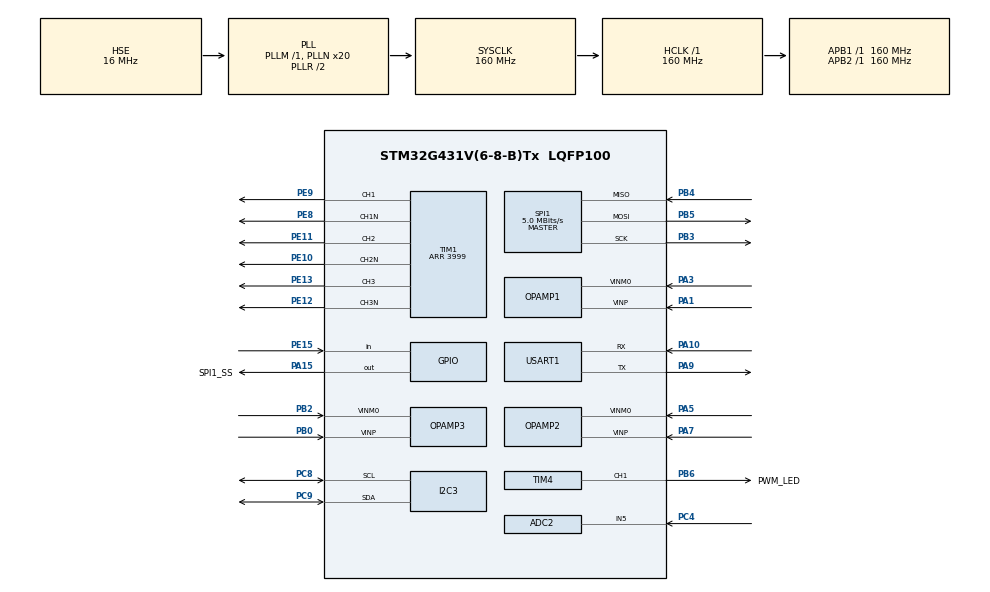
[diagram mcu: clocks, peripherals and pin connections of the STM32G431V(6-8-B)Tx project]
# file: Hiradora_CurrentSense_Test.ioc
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ADC1.Channel-6\#ChannelRegularConversion=ADC_CHANNEL_VREFINT
ADC1.EOCSelection=ADC_EOC_SEQ_CONV
ADC1.EnableInjectedConversion=ENABLE
ADC1.EnableInjectedOversampling=DISABLE
ADC1.EnableRegularConversion=ENABLE
ADC1.ExternalTrigInjecConv=ADC_EXTERNALTRIGINJEC_T1_CC4
ADC1.InjNumberOfConversion=2
ADC1.InjectedChannel-7\#ChannelInjectedConversion=ADC_CHANNEL_VOPAMP1
ADC1.InjectedChannel-8\#ChannelInjectedConversion=ADC_CHANNEL_VOPAMP1
ADC1.InjectedOffsetNumber-7\#ChannelInjectedConversion=ADC_OFFSET_NONE
ADC1.InjectedOffsetNumber-8\#ChannelInjectedConversion=ADC_OFFSET_NONE
ADC1.InjectedRank-7\#ChannelInjectedConversion=1
ADC1.InjectedRank-8\#ChannelInjectedConversion=2
ADC1.InjectedSamplingTime-7\#ChannelInjectedConversion=ADC_SAMPLETIME_12CYCLES_5
ADC1.InjectedSamplingTime-8\#ChannelInjectedConversion=ADC_SAMPLETIME_12CYCLES_5
ADC1.Mode=ADC_DUALMODE_INJECSIMULT
ADC1.NbrOfConversionFlag=1
ADC1.OffsetNumber-6\#ChannelRegularConversion=ADC_OFFSET_NONE
ADC1.Rank-6\#ChannelRegularConversion=1
ADC1.SamplingTime-6\#ChannelRegularConversion=ADC_SAMPLETIME_247CYCLES_5
ADC1.master=1
ADC2.Channel-5\#ChannelRegularConversion=ADC_CHANNEL_5
ADC2.EOCSelection=ADC_EOC_SEQ_CONV
ADC2.EnableInjectedConversion=ENABLE
ADC2.EnableRegularConversion=ENABLE
ADC2.InjNumberOfConversion=2
ADC2.InjectedChannel-3\#ChannelInjectedConversion=ADC_CHANNEL_VOPAMP2
ADC2.InjectedChannel-4\#ChannelInjectedConversion=ADC_CHANNEL_VOPAMP3_ADC2
ADC2.InjectedOffsetNumber-3\#ChannelInjectedConversion=ADC_OFFSET_NONE
ADC2.InjectedOffsetNumber-4\#ChannelInjectedConversion=ADC_OFFSET_NONE
ADC2.InjectedRank-3\#ChannelInjectedConversion=1
ADC2.InjectedRank-4\#ChannelInjectedConversion=2
ADC2.InjectedSamplingTime-3\#ChannelInjectedConversion=ADC_SAMPLETIME_12CYCLES_5
ADC2.InjectedSamplingTime-4\#ChannelInjectedConversion=ADC_SAMPLETIME_12CYCLES_5
ADC2.Mode=ADC_DUALMODE_INJECSIMULT
ADC2.NbrOfConversionFlag=1
ADC2.OffsetNumber-5\#ChannelRegularConversion=ADC_OFFSET_NONE
ADC2.Rank-5\#ChannelRegularConversion=1
ADC2.SamplingTime-5\#ChannelRegularConversion=ADC_SAMPLETIME_247CYCLES_5
Dma.Request0=USART1_TX
Dma.USART1_TX.0.Direction=DMA_MEMORY_TO_PERIPH
Dma.USART1_TX.0.EventEnable=DISABLE
Dma.USART1_TX.0.Instance=DMA1_Channel1
Dma.USART1_TX.0.MemDataAlignment=DMA_MDATAALIGN_BYTE
Dma.USART1_TX.0.MemInc=DMA_MINC_ENABLE
Dma.USART1_TX.0.Mode=DMA_NORMAL
Dma.USART1_TX.0.PeriphDataAlignment=DMA_PDATAALIGN_BYTE
Dma.USART1_TX.0.PeriphInc=DMA_PINC_DISABLE
Dma.USART1_TX.0.Polarity=HAL_DMAMUX_REQ_GEN_RISING
Dma.USART1_TX.0.Priority=DMA_PRIORITY_LOW
Dma.USART1_TX.0.RequestNumber=1
Dma.USART1_TX.0.SignalID=NONE
Dma.USART1_TX.0.SyncEnable=DISABLE
Dma.USART1_TX.0.SyncPolarity=HAL_DMAMUX_SYNC_NO_EVENT
Dma.USART1_TX.0.SyncRequestNumber=1
Dma.USART1_TX.0.SyncSignalID=NONE
I2C3.Timing=0x30D29DE4
Mcu.Family=STM32G4
Mcu.Name=STM32G431V(6-8-B)Tx
Mcu.Package=LQFP100
NVIC.ADC1_2_IRQn=true\:0\:0\:false\:false\:true\:true\:true\:true
NVIC.DMA1_Channel1_IRQn=true\:0\:0\:true\:false\:true\:false\:true\:true
NVIC.PriorityGroup=NVIC_PRIORITYGROUP_4
NVIC.TIM1_UP_TIM16_IRQn=true\:0\:0\:true\:false\:true\:true\:true\:true
NVIC.USART1_IRQn=true\:0\:0\:true\:false\:true\:true\:true\:true
OPAMP1.PgaGain=OPAMP_PGA_GAIN_16_OR_MINUS_15
OPAMP1.PowerMode=OPAMP_POWERMODE_HIGHSPEED
OPAMP2.PgaGain=OPAMP_PGA_GAIN_16_OR_MINUS_15
OPAMP2.PowerMode=OPAMP_POWERMODE_HIGHSPEED
OPAMP3.PgaGain=OPAMP_PGA_GAIN_16_OR_MINUS_15
OPAMP3.PowerMode=OPAMP_POWERMODE_HIGHSPEED
PA1.Mode=PGA Internally connected_IO0_BIAS
PA1.Signal=OPAMP1_VINP
PA10.Mode=Asynchronous
PA10.Signal=USART1_RX
PA15.GPIO_Label=SPI1_SS
PA15.PinState=GPIO_PIN_SET
PA15.Signal=GPIO_Output
PA3.Mode=PGA Internally connected_IO0_BIAS
PA3.Signal=OPAMP1_VINM0
PA5.Mode=PGA Internally connected_IO0_BIAS
PA5.Signal=OPAMP2_VINM0
PA7.Mode=PGA Internally connected_IO0_BIAS
PA7.Signal=OPAMP2_VINP
PA9.Mode=Asynchronous
PA9.Signal=USART1_TX
PB0.Mode=PGA Internally connected_IO0_BIAS
PB0.Signal=OPAMP3_VINP
PB2.Mode=PGA Internally connected_IO0_BIAS
PB2.Signal=OPAMP3_VINM0
PB3.Mode=Full_Duplex_Master
PB3.Signal=SPI1_SCK
PB4.Mode=Full_Duplex_Master
PB4.Signal=SPI1_MISO
PB5.Mode=Full_Duplex_Master
PB5.Signal=SPI1_MOSI
PB6.GPIO_Label=PWM_LED
PB6.Signal=S_TIM4_CH1
PC4.Mode=IN5-Single-Ended
PC4.Signal=ADC2_IN5
PC8.Mode=I2C
PC8.Signal=I2C3_SCL
PC9.Mode=I2C
PC9.Signal=I2C3_SDA
PE10.Mode=PWM Generation2 CH2 CH2N
PE10.Signal=TIM1_CH2N
PE11.Signal=S_TIM1_CH2
PE12.Mode=PWM Generation3 CH3 CH3N
PE12.Signal=TIM1_CH3N
PE13.Signal=S_TIM1_CH3
PE15.GPIO_PuPd=GPIO_PULLUP
PE15.Signal=GPIO_Input
PE8.Mode=PWM Generation1 CH1 CH1N
PE8.Signal=TIM1_CH1N
PE9.Signal=S_TIM1_CH1
PF0-OSC_IN.Mode=HSE-External-Oscillator
PF0-OSC_IN.Signal=RCC_OSC_IN
PF1-OSC_OUT.Mode=HSE-External-Oscillator
PF1-OSC_OUT.Signal=RCC_OSC_OUT
ProjectManager.HeapSize=0x200
ProjectManager.StackSize=0x400
ProjectManager.TargetToolchain=CMake
RCC.ADC12Freq_Value=160000000
RCC.AHBFreq_Value=160000000
RCC.APB1Freq_Value=160000000
RCC.APB1TimFreq_Value=160000000
RCC.APB2Freq_Value=160000000
RCC.APB2TimFreq_Value=160000000
RCC.CortexFreq_Value=160000000
RCC.EXTERNAL_CLOCK_VALUE=12288000
RCC.HCLKFreq_Value=160000000
RCC.HSE_VALUE=16000000
RCC.HSI48_VALUE=48000000
RCC.HSI_VALUE=16000000
RCC.LSE_VALUE=32768
RCC.PLLN=20
RCC.PLLSourceVirtual=RCC_PLLSOURCE_HSE
RCC.SYSCLKFreq_VALUE=160000000
RCC.SYSCLKSource=RCC_SYSCLKSOURCE_PLLCLK
RCC.USBFreq_Value=160000000
RCC.VCOOutputFreq_Value=320000000
SH.S_TIM1_CH1.0=TIM1_CH1,PWM Generation1 CH1 CH1N
SH.S_TIM1_CH2.0=TIM1_CH2,PWM Generation2 CH2 CH2N
SH.S_TIM1_CH3.0=TIM1_CH3,PWM Generation3 CH3 CH3N
SH.S_TIM4_CH1.0=TIM4_CH1,PWM Generation1 CH1
SPI1.BaudRatePrescaler=SPI_BAUDRATEPRESCALER_32
SPI1.CLKPhase=SPI_PHASE_2EDGE
SPI1.CalculateBaudRate=5.0 MBits/s
SPI1.DataSize=SPI_DATASIZE_16BIT
SPI1.Direction=SPI_DIRECTION_2LINES
SPI1.Mode=SPI_MODE_MASTER
SPI1.VirtualType=VM_MASTER
TIM1.AutoReloadPreload=TIM_AUTORELOAD_PRELOAD_ENABLE
TIM1.Channel-PWM\ Generation1\ CH1\ CH1N=TIM_CHANNEL_1
TIM1.Channel-PWM\ Generation2\ CH2\ CH2N=TIM_CHANNEL_2
TIM1.Channel-PWM\ Generation3\ CH3\ CH3N=TIM_CHANNEL_3
TIM1.Channel-PWM\ Generation4\ No\ Output=TIM_CHANNEL_4
TIM1.CounterMode=TIM_COUNTERMODE_CENTERALIGNED1
TIM1.DeadTime=60
TIM1.PeriodNoDither=3999
TIM1.PulseNoDither_4=3998
TIM1.RepetitionCounter=0
TIM1.TIM_MasterOutputTrigger=TIM_TRGO_RESET
TIM4.Channel-PWM\ Generation1\ CH1=TIM_CHANNEL_1
TIM4.PeriodNoDither=999
TIM4.Prescaler=159
USART1.VirtualMode-Asynchronous=VM_ASYNC
VP_ADC1_OPAMP_INTERNAL1.Mode=IN-OPAMP1
VP_ADC1_Vref_Input.Mode=IN-Vrefint
VP_ADC2_OPAMP_INTERNAL2.Mode=IN-OPAMP2
VP_ADC2_OPAMP_INTERNAL3.Mode=IN-OPAMP3
VP_SYS_VS_DBSignals.Mode=DisableDeadBatterySignals
VP_TIM1_VS_ClockSourceINT.Mode=Internal
VP_TIM1_VS_no_output4.Mode=PWM Generation4 No Output
VP_TIM4_VS_ClockSourceINT.Mode=Internal
board=custom

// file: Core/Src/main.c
/* USER CODE BEGIN Header */
/**
  ******************************************************************************
  * @file           : main.c
  * @brief          : Main program body
  ******************************************************************************
  * @attention
  *
  * Copyright (c) 2026 STMicroelectronics.
  * All rights reserved.
  *
  * This software is licensed under terms that can be found in the LICENSE file
  * in the root directory of this software component.
  * If no LICENSE file comes with this software, it is provided AS-IS.
  *
  ******************************************************************************
  */
/* USER CODE END Header */
#include "main.h"

/* USER CODE BEGIN Includes */
#include "as5047p.h"
#include "console.h"
#include "current_sense.h"
#include "motor_control.h"
#include "ntc.h"
#include "stspin32g4.h"
#include <ctype.h>
#include <stdio.h>

/* USER CODE END Includes */

ADC_HandleTypeDef hadc1;
ADC_HandleTypeDef hadc2;

I2C_HandleTypeDef hi2c3;

OPAMP_HandleTypeDef hopamp1;
OPAMP_HandleTypeDef hopamp2;
OPAMP_HandleTypeDef hopamp3;

SPI_HandleTypeDef hspi1;

TIM_HandleTypeDef htim1;
TIM_HandleTypeDef htim4;

UART_HandleTypeDef huart1;
DMA_HandleTypeDef hdma_usart1_tx;

/* USER CODE BEGIN PV */
static char motor_command[CONSOLE_RX_LINE_SIZE];

/* USER CODE END PV */

void SystemClock_Config(void);
static void MX_GPIO_Init(void);
static void MX_DMA_Init(void);
static void MX_TIM1_Init(void);
static void MX_USART1_UART_Init(void);
static void MX_TIM4_Init(void);
static void MX_I2C3_Init(void);
static void MX_OPAMP1_Init(void);
static void MX_OPAMP2_Init(void);
static void MX_ADC1_Init(void);
static void MX_ADC2_Init(void);
static void MX_OPAMP3_Init(void);
static void MX_SPI1_Init(void);

/* USER CODE BEGIN 0 */
static void PrintGateDriverStatus(const char *label, uint8_t status)
{
  printf("STSPIN32G4 STATUS %s: 0x%02X "
         "[LOCK=%u RESET=%u VDS=%u THSD=%u VCC_UVLO=%u]\r\n",
         label,
         status,
         (status & STSPIN32G4_STATUS_LOCK) != 0U,
         (status & STSPIN32G4_STATUS_RESET) != 0U,
         (status & STSPIN32G4_STATUS_VDS_PROTECTION) != 0U,
         (status & STSPIN32G4_STATUS_THERMAL_SHUTDOWN) != 0U,
         (status & STSPIN32G4_STATUS_VCC_UVLO) != 0U);
}

static bool IsGateDriverCommand(const char *command, const char *expected)
{
  while (isspace((unsigned char)*command) != 0)
  {
    command++;
  }
  while (*expected != '\0')
  {
    if (tolower((unsigned char)*command) != *expected)
    {
      return false;
    }
    command++;
    expected++;
  }
  while (isspace((unsigned char)*command) != 0)
  {
    command++;
  }
  return (*command == '\0');
}

static bool ReadAndPrintGateDriverFault(const char *label)
{
  uint8_t status;
  HAL_StatusTypeDef result;
  GPIO_PinState nfault;
  /* Read only: preserve latched faults for diagnosis. Sample PE15 even
     when I2C fails; the register and pin are sequential snapshots. */
  result = STSPIN32G4_ReadStatus(&hi2c3, &status);
  nfault = HAL_GPIO_ReadPin(GPIOE, GPIO_PIN_15);
  if (result == HAL_OK)
  {
    PrintGateDriverStatus(label, status);
  }
  else
  {
    printf("STSPIN32G4 STATUS read failed: HAL status=%d, HAL error=0x%08lX\r\n",
           (int)result,
           (unsigned long)HAL_I2C_GetError(&hi2c3));
  }
  printf("STSPIN32G4 nFAULT (PE15): %u (%s)\r\n",
         (unsigned int)(nfault == GPIO_PIN_SET),
         (nfault == GPIO_PIN_RESET) ? "LOW, asserted" : "HIGH, inactive");
  return (result == HAL_OK);
}

static bool ProcessGateDriverFaultCommand(const char *command)
{
  HAL_StatusTypeDef result;

  if (IsGateDriverCommand(command, "fault"))
  {
    (void)ReadAndPrintGateDriverFault("current");
    return true;
  }
  if (!IsGateDriverCommand(command, "fault clear"))
  {
    return false;
  }

  /* Clearing the driver latch can re-enable its outputs. Stop PWM first. */
  MotorControl_Stop();
  printf("PWM stopped for fault clear\r\n");
  if (!ReadAndPrintGateDriverFault("before clear"))
  {
    printf("FAULT clear aborted: STATUS is unavailable\r\n");
    return true;
  }

  result = STSPIN32G4_ClearFaults(&hi2c3);
  if (result != HAL_OK)
  {
    printf("STSPIN32G4 CLEAR failed: HAL status=%d, HAL error=0x%08lX\r\n",
           (int)result,
           (unsigned long)HAL_I2C_GetError(&hi2c3));
  }
  else
  {
    printf("STSPIN32G4 CLEAR command sent\r\n");
  }
  /* Same settling time as the startup fault-clear sequence. */
  HAL_Delay(1U);
  (void)ReadAndPrintGateDriverFault("after clear");
  return true;
}

/* USER CODE END 0 */

int main(void)
{

  /* MCU Configuration--------------------------------------------------------*/

  /* Reset of all peripherals, Initializes the Flash interface and the Systick. */
  HAL_Init();

  /* Configure the system clock */
  SystemClock_Config();

  /* Initialize all configured peripherals */
  MX_GPIO_Init();
  MX_DMA_Init();
  MX_TIM1_Init();
  MX_USART1_UART_Init();
  MX_TIM4_Init();
  MX_I2C3_Init();
  MX_OPAMP1_Init();
  MX_OPAMP2_Init();
  MX_ADC1_Init();
  MX_ADC2_Init();
  MX_OPAMP3_Init();
  MX_SPI1_Init();
  /* USER CODE BEGIN 2 */
  Console_Init(&huart1);

  if (CurrentSense_Init(&hadc1,
                        &hadc2,
                        &hopamp1,
                        &hopamp2,
                        &hopamp3,
                        &htim1) != HAL_OK)
  {
    printf("Current-sense initialization failed\r\n");
    (void)Console_Flush(1000U);
    Error_Handler();
  }

  NTC_Init(&hadc2);

  /* The internal VCC buck soft-start is 3.3 ms according to the datasheet. */
  HAL_Delay(5U);
  if (MotorControl_Init(&htim1, &hi2c3) != HAL_OK)
  {
    printf("Motor PWM remains disabled\r\n");
  }
  else
  {
    printf("TIM1 ready: PWM OFF, current_test duty=0\r\n");
  }
  AS5047P_Init(&hspi1);
  printf("Command: <offset>, u/v/w <offset>, mid, stop, start, "
         "run cw/ccw <rpm>, current_test off|uv_pos|uv_neg|vw_pos|vw_neg|wu_pos|wu_neg|duty <0..0.05>, "
         "status, adc, ntc, ntc stop, angle, angle stop, fault, fault clear\r\n");
  /* USER CODE END 2 */

  /* Infinite loop */
  while (1)
  {

    /* USER CODE BEGIN 3 */
    CurrentSense_Task();
    NTC_Task();
    AS5047P_Task();

    if (Console_ReadLine(motor_command, sizeof(motor_command)))
    {
      if (CurrentSense_IsBusy())
      {
        if (!MotorControl_ProcessStopCommand(motor_command))
        {
          printf("ADC capture/transfer is busy; only 'stop' or 'current_test off' is accepted\r\n");
        }
      }
      else if (!ProcessGateDriverFaultCommand(motor_command) &&
               !AS5047P_ProcessCommand(motor_command) &&
               !NTC_ProcessCommand(motor_command) &&
               !CurrentSense_ProcessCommand(motor_command))
      {
        (void)MotorControl_ProcessCommand(motor_command);
      }
    }
    HAL_Delay(1);
  }
  /* USER CODE END 3 */
}

void SystemClock_Config(void)
{
  RCC_OscInitTypeDef RCC_OscInitStruct = {0};
  RCC_ClkInitTypeDef RCC_ClkInitStruct = {0};

  /** Configure the main internal regulator output voltage
  */
  HAL_PWREx_ControlVoltageScaling(PWR_REGULATOR_VOLTAGE_SCALE1_BOOST);

  /** Initializes the RCC Oscillators according to the specified parameters
  * in the RCC_OscInitTypeDef structure.
  */
  RCC_OscInitStruct.OscillatorType = RCC_OSCILLATORTYPE_HSE;
  RCC_OscInitStruct.HSEState = RCC_HSE_ON;
  RCC_OscInitStruct.PLL.PLLState = RCC_PLL_ON;
  RCC_OscInitStruct.PLL.PLLSource = RCC_PLLSOURCE_HSE;
  RCC_OscInitStruct.PLL.PLLM = RCC_PLLM_DIV1;
  RCC_OscInitStruct.PLL.PLLN = 20;
  RCC_OscInitStruct.PLL.PLLP = RCC_PLLP_DIV2;
  RCC_OscInitStruct.PLL.PLLQ = RCC_PLLQ_DIV2;
  RCC_OscInitStruct.PLL.PLLR = RCC_PLLR_DIV2;
  if (HAL_RCC_OscConfig(&RCC_OscInitStruct) != HAL_OK)
  {
    Error_Handler();
  }

  /** Initializes the CPU, AHB and APB buses clocks
  */
  RCC_ClkInitStruct.ClockType = RCC_CLOCKTYPE_HCLK|RCC_CLOCKTYPE_SYSCLK
                              |RCC_CLOCKTYPE_PCLK1|RCC_CLOCKTYPE_PCLK2;
  RCC_ClkInitStruct.SYSCLKSource = RCC_SYSCLKSOURCE_PLLCLK;
  RCC_ClkInitStruct.AHBCLKDivider = RCC_SYSCLK_DIV1;
  RCC_ClkInitStruct.APB1CLKDivider = RCC_HCLK_DIV1;
  RCC_ClkInitStruct.APB2CLKDivider = RCC_HCLK_DIV1;

  if (HAL_RCC_ClockConfig(&RCC_ClkInitStruct, FLASH_LATENCY_4) != HAL_OK)
  {
    Error_Handler();
  }
}

static void MX_ADC1_Init(void)
{

  ADC_MultiModeTypeDef multimode = {0};
  ADC_ChannelConfTypeDef sConfig = {0};
  ADC_InjectionConfTypeDef sConfigInjected = {0};

  /** Common config
  */
  hadc1.Instance = ADC1;
  hadc1.Init.ClockPrescaler = ADC_CLOCK_SYNC_PCLK_DIV4;
  hadc1.Init.Resolution = ADC_RESOLUTION_12B;
  hadc1.Init.DataAlign = ADC_DATAALIGN_RIGHT;
  hadc1.Init.GainCompensation = 0;
  hadc1.Init.ScanConvMode = ADC_SCAN_ENABLE;
  hadc1.Init.EOCSelection = ADC_EOC_SEQ_CONV;
  hadc1.Init.LowPowerAutoWait = DISABLE;
  hadc1.Init.ContinuousConvMode = DISABLE;
  hadc1.Init.NbrOfConversion = 1;
  hadc1.Init.DiscontinuousConvMode = DISABLE;
  hadc1.Init.ExternalTrigConv = ADC_SOFTWARE_START;
  hadc1.Init.ExternalTrigConvEdge = ADC_EXTERNALTRIGCONVEDGE_NONE;
  hadc1.Init.DMAContinuousRequests = DISABLE;
  hadc1.Init.Overrun = ADC_OVR_DATA_PRESERVED;
  hadc1.Init.OversamplingMode = DISABLE;
  if (HAL_ADC_Init(&hadc1) != HAL_OK)
  {
    Error_Handler();
  }

  /** Configure the ADC multi-mode
  */
  multimode.Mode = ADC_DUALMODE_INJECSIMULT;
  multimode.DMAAccessMode = ADC_DMAACCESSMODE_DISABLED;
  multimode.TwoSamplingDelay = ADC_TWOSAMPLINGDELAY_1CYCLE;
  if (HAL_ADCEx_MultiModeConfigChannel(&hadc1, &multimode) != HAL_OK)
  {
    Error_Handler();
  }

  /** Configure Regular Channel
  */
  sConfig.Channel = ADC_CHANNEL_VREFINT;
  sConfig.Rank = ADC_REGULAR_RANK_1;
  sConfig.SamplingTime = ADC_SAMPLETIME_247CYCLES_5;
  sConfig.SingleDiff = ADC_SINGLE_ENDED;
  sConfig.OffsetNumber = ADC_OFFSET_NONE;
  sConfig.Offset = 0;
  if (HAL_ADC_ConfigChannel(&hadc1, &sConfig) != HAL_OK)
  {
    Error_Handler();
  }

  /** Configure Injected Channel
  */
  sConfigInjected.InjectedChannel = ADC_CHANNEL_VOPAMP1;
  sConfigInjected.InjectedRank = ADC_INJECTED_RANK_1;
  sConfigInjected.InjectedSamplingTime = ADC_SAMPLETIME_12CYCLES_5;
  sConfigInjected.InjectedSingleDiff = ADC_SINGLE_ENDED;
  sConfigInjected.InjectedOffsetNumber = ADC_OFFSET_NONE;
  sConfigInjected.InjectedOffset = 0;
  sConfigInjected.InjectedNbrOfConversion = 2;
  sConfigInjected.InjectedDiscontinuousConvMode = DISABLE;
  sConfigInjected.AutoInjectedConv = DISABLE;
  sConfigInjected.QueueInjectedContext = DISABLE;
  sConfigInjected.ExternalTrigInjecConv = ADC_EXTERNALTRIGINJEC_T1_CC4;
  sConfigInjected.ExternalTrigInjecConvEdge = ADC_EXTERNALTRIGINJECCONV_EDGE_RISING;
  sConfigInjected.InjecOversamplingMode = DISABLE;
  if (HAL_ADCEx_InjectedConfigChannel(&hadc1, &sConfigInjected) != HAL_OK)
  {
    Error_Handler();
  }

  /** Configure Injected Channel
  */
  sConfigInjected.InjectedRank = ADC_INJECTED_RANK_2;
  if (HAL_ADCEx_InjectedConfigChannel(&hadc1, &sConfigInjected) != HAL_OK)
  {
    Error_Handler();
  }

}

static void MX_ADC2_Init(void)
{

  ADC_InjectionConfTypeDef sConfigInjected = {0};
  ADC_ChannelConfTypeDef sConfig = {0};

  /** Common config
  */
  hadc2.Instance = ADC2;
  hadc2.Init.ClockPrescaler = ADC_CLOCK_SYNC_PCLK_DIV4;
  hadc2.Init.Resolution = ADC_RESOLUTION_12B;
  hadc2.Init.DataAlign = ADC_DATAALIGN_RIGHT;
  hadc2.Init.GainCompensation = 0;
  hadc2.Init.ScanConvMode = ADC_SCAN_ENABLE;
  hadc2.Init.EOCSelection = ADC_EOC_SEQ_CONV;
  hadc2.Init.LowPowerAutoWait = DISABLE;
  hadc2.Init.ContinuousConvMode = DISABLE;
  hadc2.Init.NbrOfConversion = 1;
  hadc2.Init.DiscontinuousConvMode = DISABLE;
  hadc2.Init.DMAContinuousRequests = DISABLE;
  hadc2.Init.Overrun = ADC_OVR_DATA_PRESERVED;
  hadc2.Init.OversamplingMode = DISABLE;
  if (HAL_ADC_Init(&hadc2) != HAL_OK)
  {
    Error_Handler();
  }

  /** Configure Injected Channel
  */
  sConfigInjected.InjectedChannel = ADC_CHANNEL_VOPAMP2;
  sConfigInjected.InjectedRank = ADC_INJECTED_RANK_1;
  sConfigInjected.InjectedSamplingTime = ADC_SAMPLETIME_12CYCLES_5;
  sConfigInjected.InjectedSingleDiff = ADC_SINGLE_ENDED;
  sConfigInjected.InjectedOffsetNumber = ADC_OFFSET_NONE;
  sConfigInjected.InjectedOffset = 0;
  sConfigInjected.InjectedNbrOfConversion = 2;
  sConfigInjected.InjectedDiscontinuousConvMode = DISABLE;
  sConfigInjected.AutoInjectedConv = DISABLE;
  sConfigInjected.QueueInjectedContext = DISABLE;
  sConfigInjected.InjecOversamplingMode = DISABLE;
  if (HAL_ADCEx_InjectedConfigChannel(&hadc2, &sConfigInjected) != HAL_OK)
  {
    Error_Handler();
  }

  /** Configure Injected Channel
  */
  sConfigInjected.InjectedChannel = ADC_CHANNEL_VOPAMP3_ADC2;
  sConfigInjected.InjectedRank = ADC_INJECTED_RANK_2;
  if (HAL_ADCEx_InjectedConfigChannel(&hadc2, &sConfigInjected) != HAL_OK)
  {
    Error_Handler();
  }

  /** Configure Regular Channel
  */
  sConfig.Channel = ADC_CHANNEL_5;
  sConfig.Rank = ADC_REGULAR_RANK_1;
  sConfig.SamplingTime = ADC_SAMPLETIME_247CYCLES_5;
  sConfig.SingleDiff = ADC_SINGLE_ENDED;
  sConfig.OffsetNumber = ADC_OFFSET_NONE;
  sConfig.Offset = 0;
  if (HAL_ADC_ConfigChannel(&hadc2, &sConfig) != HAL_OK)
  {
    Error_Handler();
  }

}

static void MX_I2C3_Init(void)
{

  hi2c3.Instance = I2C3;
  hi2c3.Init.Timing = 0x30D29DE4;
  hi2c3.Init.OwnAddress1 = 0;
  hi2c3.Init.AddressingMode = I2C_ADDRESSINGMODE_7BIT;
  hi2c3.Init.DualAddressMode = I2C_DUALADDRESS_DISABLE;
  hi2c3.Init.OwnAddress2 = 0;
  hi2c3.Init.OwnAddress2Masks = I2C_OA2_NOMASK;
  hi2c3.Init.GeneralCallMode = I2C_GENERALCALL_DISABLE;
  hi2c3.Init.NoStretchMode = I2C_NOSTRETCH_DISABLE;
  if (HAL_I2C_Init(&hi2c3) != HAL_OK)
  {
    Error_Handler();
  }

  /** Configure Analogue filter
  */
  if (HAL_I2CEx_ConfigAnalogFilter(&hi2c3, I2C_ANALOGFILTER_ENABLE) != HAL_OK)
  {
    Error_Handler();
  }

  /** Configure Digital filter
  */
  if (HAL_I2CEx_ConfigDigitalFilter(&hi2c3, 0) != HAL_OK)
  {
    Error_Handler();
  }

}

static void MX_OPAMP1_Init(void)
{

  hopamp1.Instance = OPAMP1;
  hopamp1.Init.PowerMode = OPAMP_POWERMODE_HIGHSPEED;
  hopamp1.Init.Mode = OPAMP_PGA_MODE;
  hopamp1.Init.NonInvertingInput = OPAMP_NONINVERTINGINPUT_IO0;
  hopamp1.Init.InternalOutput = ENABLE;
  hopamp1.Init.TimerControlledMuxmode = OPAMP_TIMERCONTROLLEDMUXMODE_DISABLE;
  hopamp1.Init.PgaConnect = OPAMP_PGA_CONNECT_INVERTINGINPUT_IO0_BIAS;
  hopamp1.Init.PgaGain = OPAMP_PGA_GAIN_16_OR_MINUS_15;
  hopamp1.Init.UserTrimming = OPAMP_TRIMMING_FACTORY;
  if (HAL_OPAMP_Init(&hopamp1) != HAL_OK)
  {
    Error_Handler();
  }

}

static void MX_OPAMP2_Init(void)
{

  hopamp2.Instance = OPAMP2;
  hopamp2.Init.PowerMode = OPAMP_POWERMODE_HIGHSPEED;
  hopamp2.Init.Mode = OPAMP_PGA_MODE;
  hopamp2.Init.NonInvertingInput = OPAMP_NONINVERTINGINPUT_IO0;
  hopamp2.Init.InternalOutput = ENABLE;
  hopamp2.Init.TimerControlledMuxmode = OPAMP_TIMERCONTROLLEDMUXMODE_DISABLE;
  hopamp2.Init.PgaConnect = OPAMP_PGA_CONNECT_INVERTINGINPUT_IO0_BIAS;
  hopamp2.Init.PgaGain = OPAMP_PGA_GAIN_16_OR_MINUS_15;
  hopamp2.Init.UserTrimming = OPAMP_TRIMMING_FACTORY;
  if (HAL_OPAMP_Init(&hopamp2) != HAL_OK)
  {
    Error_Handler();
  }

}

static void MX_OPAMP3_Init(void)
{

  hopamp3.Instance = OPAMP3;
  hopamp3.Init.PowerMode = OPAMP_POWERMODE_HIGHSPEED;
  hopamp3.Init.Mode = OPAMP_PGA_MODE;
  hopamp3.Init.NonInvertingInput = OPAMP_NONINVERTINGINPUT_IO0;
  hopamp3.Init.InternalOutput = ENABLE;
  hopamp3.Init.TimerControlledMuxmode = OPAMP_TIMERCONTROLLEDMUXMODE_DISABLE;
  hopamp3.Init.PgaConnect = OPAMP_PGA_CONNECT_INVERTINGINPUT_IO0_BIAS;
  hopamp3.Init.PgaGain = OPAMP_PGA_GAIN_16_OR_MINUS_15;
  hopamp3.Init.UserTrimming = OPAMP_TRIMMING_FACTORY;
  if (HAL_OPAMP_Init(&hopamp3) != HAL_OK)
  {
    Error_Handler();
  }

}

static void MX_SPI1_Init(void)
{

  /* SPI1 parameter configuration*/
  hspi1.Instance = SPI1;
  hspi1.Init.Mode = SPI_MODE_MASTER;
  hspi1.Init.Direction = SPI_DIRECTION_2LINES;
  hspi1.Init.DataSize = SPI_DATASIZE_16BIT;
  hspi1.Init.CLKPolarity = SPI_POLARITY_LOW;
  hspi1.Init.CLKPhase = SPI_PHASE_2EDGE;
  hspi1.Init.NSS = SPI_NSS_SOFT;
  hspi1.Init.BaudRatePrescaler = SPI_BAUDRATEPRESCALER_32;
  hspi1.Init.FirstBit = SPI_FIRSTBIT_MSB;
  hspi1.Init.TIMode = SPI_TIMODE_DISABLE;
  hspi1.Init.CRCCalculation = SPI_CRCCALCULATION_DISABLE;
  hspi1.Init.CRCPolynomial = 7;
  hspi1.Init.CRCLength = SPI_CRC_LENGTH_DATASIZE;
  hspi1.Init.NSSPMode = SPI_NSS_PULSE_DISABLE;
  if (HAL_SPI_Init(&hspi1) != HAL_OK)
  {
    Error_Handler();
  }

}

static void MX_TIM1_Init(void)
{

  TIM_ClockConfigTypeDef sClockSourceConfig = {0};
  TIM_MasterConfigTypeDef sMasterConfig = {0};
  TIM_OC_InitTypeDef sConfigOC = {0};
  TIM_BreakDeadTimeConfigTypeDef sBreakDeadTimeConfig = {0};

  htim1.Instance = TIM1;
  htim1.Init.Prescaler = 0;
  htim1.Init.CounterMode = TIM_COUNTERMODE_CENTERALIGNED1;
  htim1.Init.Period = 3999;
  htim1.Init.ClockDivision = TIM_CLOCKDIVISION_DIV1;
  htim1.Init.RepetitionCounter = 0;
  htim1.Init.AutoReloadPreload = TIM_AUTORELOAD_PRELOAD_ENABLE;
  if (HAL_TIM_Base_Init(&htim1) != HAL_OK)
  {
    Error_Handler();
  }
  sClockSourceConfig.ClockSource = TIM_CLOCKSOURCE_INTERNAL;
  if (HAL_TIM_ConfigClockSource(&htim1, &sClockSourceConfig) != HAL_OK)
  {
    Error_Handler();
  }
  if (HAL_TIM_PWM_Init(&htim1) != HAL_OK)
  {
    Error_Handler();
  }
  sMasterConfig.MasterOutputTrigger = TIM_TRGO_RESET;
  sMasterConfig.MasterOutputTrigger2 = TIM_TRGO2_RESET;
  sMasterConfig.MasterSlaveMode = TIM_MASTERSLAVEMODE_DISABLE;
  if (HAL_TIMEx_MasterConfigSynchronization(&htim1, &sMasterConfig) != HAL_OK)
  {
    Error_Handler();
  }
  sConfigOC.OCMode = TIM_OCMODE_PWM1;
  sConfigOC.Pulse = 0;
  sConfigOC.OCPolarity = TIM_OCPOLARITY_HIGH;
  sConfigOC.OCNPolarity = TIM_OCNPOLARITY_HIGH;
  sConfigOC.OCFastMode = TIM_OCFAST_DISABLE;
  sConfigOC.OCIdleState = TIM_OCIDLESTATE_RESET;
  sConfigOC.OCNIdleState = TIM_OCNIDLESTATE_RESET;
  if (HAL_TIM_PWM_ConfigChannel(&htim1, &sConfigOC, TIM_CHANNEL_1) != HAL_OK)
  {
    Error_Handler();
  }
  if (HAL_TIM_PWM_ConfigChannel(&htim1, &sConfigOC, TIM_CHANNEL_2) != HAL_OK)
  {
    Error_Handler();
  }
  if (HAL_TIM_PWM_ConfigChannel(&htim1, &sConfigOC, TIM_CHANNEL_3) != HAL_OK)
  {
    Error_Handler();
  }
  sConfigOC.Pulse = 3998;
  if (HAL_TIM_PWM_ConfigChannel(&htim1, &sConfigOC, TIM_CHANNEL_4) != HAL_OK)
  {
    Error_Handler();
  }
  sBreakDeadTimeConfig.OffStateRunMode = TIM_OSSR_DISABLE;
  sBreakDeadTimeConfig.OffStateIDLEMode = TIM_OSSI_DISABLE;
  sBreakDeadTimeConfig.LockLevel = TIM_LOCKLEVEL_OFF;
  sBreakDeadTimeConfig.DeadTime = 60;
  sBreakDeadTimeConfig.BreakState = TIM_BREAK_DISABLE;
  sBreakDeadTimeConfig.BreakPolarity = TIM_BREAKPOLARITY_HIGH;
  sBreakDeadTimeConfig.BreakFilter = 0;
  sBreakDeadTimeConfig.BreakAFMode = TIM_BREAK_AFMODE_INPUT;
  sBreakDeadTimeConfig.Break2State = TIM_BREAK2_DISABLE;
  sBreakDeadTimeConfig.Break2Polarity = TIM_BREAK2POLARITY_HIGH;
  sBreakDeadTimeConfig.Break2Filter = 0;
  sBreakDeadTimeConfig.Break2AFMode = TIM_BREAK_AFMODE_INPUT;
  sBreakDeadTimeConfig.AutomaticOutput = TIM_AUTOMATICOUTPUT_DISABLE;
  if (HAL_TIMEx_ConfigBreakDeadTime(&htim1, &sBreakDeadTimeConfig) != HAL_OK)
  {
    Error_Handler();
  }
  HAL_TIM_MspPostInit(&htim1);

}

static void MX_TIM4_Init(void)
{

  TIM_ClockConfigTypeDef sClockSourceConfig = {0};
  TIM_MasterConfigTypeDef sMasterConfig = {0};
  TIM_OC_InitTypeDef sConfigOC = {0};

  htim4.Instance = TIM4;
  htim4.Init.Prescaler = 159;
  htim4.Init.CounterMode = TIM_COUNTERMODE_UP;
  htim4.Init.Period = 999;
  htim4.Init.ClockDivision = TIM_CLOCKDIVISION_DIV1;
  htim4.Init.AutoReloadPreload = TIM_AUTORELOAD_PRELOAD_DISABLE;
  if (HAL_TIM_Base_Init(&htim4) != HAL_OK)
  {
    Error_Handler();
  }
  sClockSourceConfig.ClockSource = TIM_CLOCKSOURCE_INTERNAL;
  if (HAL_TIM_ConfigClockSource(&htim4, &sClockSourceConfig) != HAL_OK)
  {
    Error_Handler();
  }
  if (HAL_TIM_PWM_Init(&htim4) != HAL_OK)
  {
    Error_Handler();
  }
  sMasterConfig.MasterOutputTrigger = TIM_TRGO_RESET;
  sMasterConfig.MasterSlaveMode = TIM_MASTERSLAVEMODE_DISABLE;
  if (HAL_TIMEx_MasterConfigSynchronization(&htim4, &sMasterConfig) != HAL_OK)
  {
    Error_Handler();
  }
  sConfigOC.OCMode = TIM_OCMODE_PWM1;
  sConfigOC.Pulse = 0;
  sConfigOC.OCPolarity = TIM_OCPOLARITY_HIGH;
  sConfigOC.OCFastMode = TIM_OCFAST_DISABLE;
  if (HAL_TIM_PWM_ConfigChannel(&htim4, &sConfigOC, TIM_CHANNEL_1) != HAL_OK)
  {
    Error_Handler();
  }
  HAL_TIM_MspPostInit(&htim4);

}

static void MX_USART1_UART_Init(void)
{

  huart1.Instance = USART1;
  huart1.Init.BaudRate = 115200;
  huart1.Init.WordLength = UART_WORDLENGTH_8B;
  huart1.Init.StopBits = UART_STOPBITS_1;
  huart1.Init.Parity = UART_PARITY_NONE;
  huart1.Init.Mode = UART_MODE_TX_RX;
  huart1.Init.HwFlowCtl = UART_HWCONTROL_NONE;
  huart1.Init.OverSampling = UART_OVERSAMPLING_16;
  huart1.Init.OneBitSampling = UART_ONE_BIT_SAMPLE_DISABLE;
  huart1.Init.ClockPrescaler = UART_PRESCALER_DIV1;
  huart1.AdvancedInit.AdvFeatureInit = UART_ADVFEATURE_NO_INIT;
  if (HAL_UART_Init(&huart1) != HAL_OK)
  {
    Error_Handler();
  }
  if (HAL_UARTEx_SetTxFifoThreshold(&huart1, UART_TXFIFO_THRESHOLD_1_8) != HAL_OK)
  {
    Error_Handler();
  }
  if (HAL_UARTEx_SetRxFifoThreshold(&huart1, UART_RXFIFO_THRESHOLD_1_8) != HAL_OK)
  {
    Error_Handler();
  }
  if (HAL_UARTEx_DisableFifoMode(&huart1) != HAL_OK)
  {
    Error_Handler();
  }

}

static void MX_DMA_Init(void)
{

  /* DMA controller clock enable */
  __HAL_RCC_DMAMUX1_CLK_ENABLE();
  __HAL_RCC_DMA1_CLK_ENABLE();

  /* DMA interrupt init */
  /* DMA1_Channel1_IRQn interrupt configuration */
  HAL_NVIC_SetPriority(DMA1_Channel1_IRQn, 0, 0);
  HAL_NVIC_EnableIRQ(DMA1_Channel1_IRQn);

}

static void MX_GPIO_Init(void)
{
  GPIO_InitTypeDef GPIO_InitStruct = {0};

  /* GPIO Ports Clock Enable */
  __HAL_RCC_GPIOF_CLK_ENABLE();
  __HAL_RCC_GPIOA_CLK_ENABLE();
  __HAL_RCC_GPIOC_CLK_ENABLE();
  __HAL_RCC_GPIOB_CLK_ENABLE();
  __HAL_RCC_GPIOE_CLK_ENABLE();

  /*Configure GPIO pin Output Level */
  HAL_GPIO_WritePin(SPI1_SS_GPIO_Port, SPI1_SS_Pin, GPIO_PIN_SET);

  /*Configure GPIO pin : PE15 */
  GPIO_InitStruct.Pin = GPIO_PIN_15;
  GPIO_InitStruct.Mode = GPIO_MODE_INPUT;
  GPIO_InitStruct.Pull = GPIO_PULLUP;
  HAL_GPIO_Init(GPIOE, &GPIO_InitStruct);

  /*Configure GPIO pin : SPI1_SS_Pin */
  GPIO_InitStruct.Pin = SPI1_SS_Pin;
  GPIO_InitStruct.Mode = GPIO_MODE_OUTPUT_PP;
  GPIO_InitStruct.Pull = GPIO_NOPULL;
  GPIO_InitStruct.Speed = GPIO_SPEED_FREQ_LOW;
  HAL_GPIO_Init(SPI1_SS_GPIO_Port, &GPIO_InitStruct);

}

void Error_Handler(void)
{
  /* USER CODE BEGIN Error_Handler_Debug */
  MotorControl_Stop();
  /* User can add his own implementation to report the HAL error return state */
  __disable_irq();
  while (1)
  {
  }
  /* USER CODE END Error_Handler_Debug */
}
